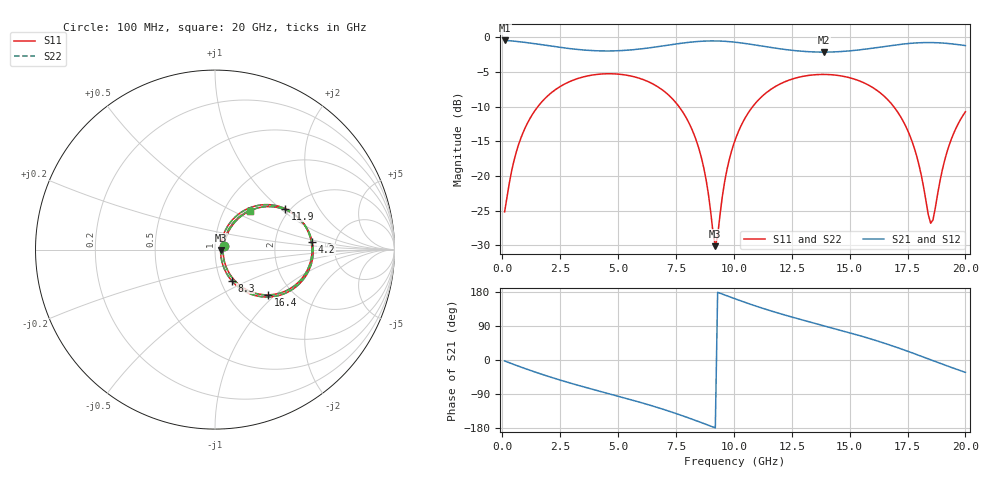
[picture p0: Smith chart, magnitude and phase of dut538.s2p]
! Touchstone file exported from HFSS 2026.1.0
!  File:  C:/ffzhzh/LocalFiles/Ansys_Project_Files/temp_train_TSV_RDL_538_1783113068_46604.aedt
!  Generated:  05:28:46 AM Jul  4, 2026
!  Design:  TSV_RDL
!  Project:  temp_train_TSV_RDL_538_1783113068_46604
! Variables:
!  h_bsmrdl = 2.15um
!  h_ox = 20um
!  h_rdl = 5um
!  h_sub = 84.6um
!  h_tmrdl = 2.07um
!  h_tsv = 84.6um
!  h_via = 3um
!  l_bsmrdl = 698.4um
!  l_sub = 6461.58um
!  l_tmrdl = 962.81um
!  m_sub = 200um
!  pitch = 46.85um
!  r_tsv = 10.7um
!  s_tmrdl = 10um
!  w_bsmrdl = 15.57um
!  w_sub = 500um
!  w_tmrdl = 22.81um
!  x_tsv_center1 = 974.215um
!  x_tsv_center2 = 1688.185um
!  x_tsv_center3 = 2673.805um
!  x_tsv_center4 = 3387.775um
!  x_tsv_center5 = 4373.395um
!  x_tsv_center6 = 5087.365um
# GHz S MA R 50.000000
! Terminal data exported
! Port[1] = TM_RDL1_1_T1
! Port[2] = TM_RDL5_1_T1
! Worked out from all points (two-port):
!   200 points, 100 MHz to 20 GHz, reference 50 ohm
!   highest |S21| = -0.44 dB at 100 MHz (marker M1); lowest = -2.1 dB at 13.9 GHz (marker M2)
!   |S21| within 3 dB of the highest: start of sweep to end of sweep
!   lowest |S11| = -30.1 dB at 9.2 GHz (marker M3), VSWR 1.06, Z = 53.2 - j0.267 ohm
!   |S11| at or under -10 dB: start of sweep to 1.534 GHz; 7.634 GHz to 10.81 GHz (3.177 GHz wide, 34.4 % of centre); 16.91 GHz to end of sweep
!   |S22| runs from -30.0 to -5.2 dB; largest |S21 - S12| = 1.7e-14
!   S11 on the Smith chart (normalised r, x): 100 MHz: 1.11, +0.05; 4.2 GHz: 3.32, +0.40; 8.3 GHz: 1.13, -0.40; 11.9 GHz: 1.88, +1.08; 16.4 GHz: 1.52, -0.90; 20 GHz: 1.31, +0.62
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0.1  0.05522 23.9  0.9502 -2.4  0.9502 -2.4  0.05522 23.9
! Gamma 0 0 0 0
! Port Impedance 50 0 50 0
0.6  0.1483 54.3  0.9358 -14.1  0.9358 -14.1  0.1483 54.3
1.2  0.2609 50.3  0.9102 -27.2  0.9102 -27.2  0.2609 50.3
3.5  0.5189 15.2  0.8112 -70.7  0.8112 -70.7  0.5189 15.2
4.2  0.5431 4.5  0.7994 -82.4  0.7994 -82.4  0.5431 4.5
5.5  0.5289 -15.4  0.8108 -103.9  0.8108 -103.9  0.5289 -15.4
6.8  0.4312 -36.8  0.8612 -127.2  0.8612 -127.2  0.4312 -36.8
8.3  0.1959 -61.9  0.9299 -158.5  0.9299 -158.5  0.1959 -61.9
8.8  0.09449 -62.8  0.9413 -169.8  0.9413 -169.8  0.09458 -62.7
9.2  0.03125 -4.6  0.9429 -179.1  0.9429 -179.1  0.03153 -4.6
9.7  0.1107 61.5  0.9348 169.4  0.9348 169.4  0.1108 61.3
10.1  0.1906 59.8  0.9214 160.4  0.9214 160.4  0.1907 59.6
10.9  0.3301 47.3  0.8828 143.3  0.8828 143.3  0.3302 47.2
11.9  0.4528 30.3  0.8315 124.1  0.8315 124.1  0.4528 30.2
13.4  0.536 6.6  0.7861 98.4  0.7861 98.4  0.5359 6.5
13.9  0.5406 -1.0  0.7832 90.2  0.7832 90.2  0.5405 -1.1
16.4  0.3885 -40.5  0.8546 46.3  0.8546 46.3  0.3883 -40.7
16.7  0.3476 -45.4  0.8687 40.3  0.8687 40.3  0.3475 -45.7
17.7  0.1772 -58.6  0.9079 18.9  0.9079 18.9  0.1769 -59.0
18.5  0.04573 -7.2  0.9177 0.6  0.9177 0.6  0.04446 -7.4
19.2  0.1481 56.0  0.9052 -15.3  0.9052 -15.3  0.1478 56.4
20  0.2907 48.3  0.8727 -32.6  0.8727 -32.6  0.2905 48.5
